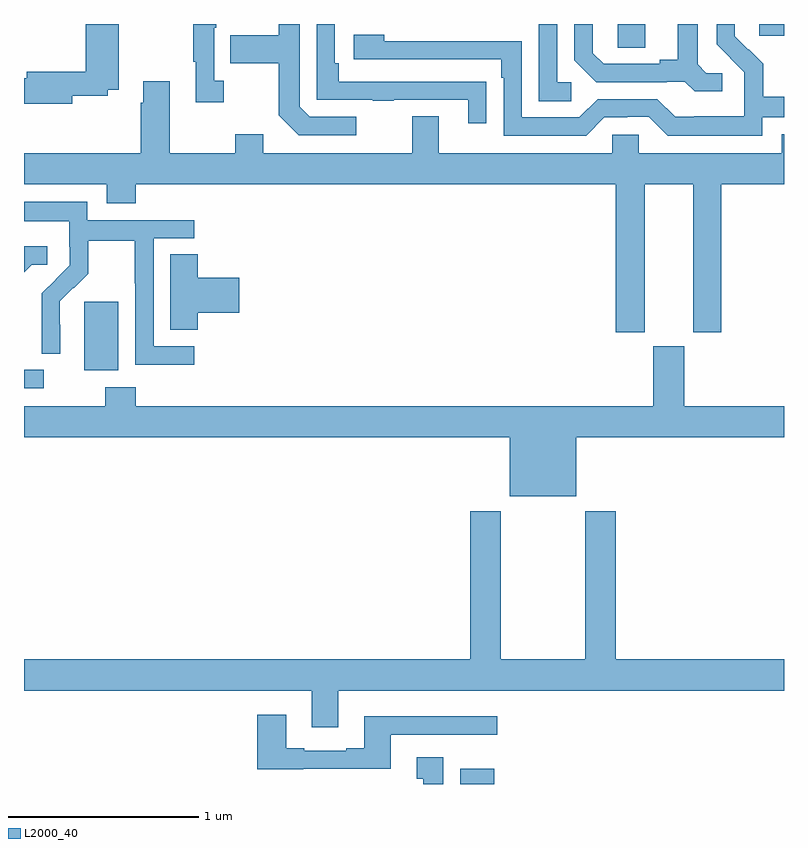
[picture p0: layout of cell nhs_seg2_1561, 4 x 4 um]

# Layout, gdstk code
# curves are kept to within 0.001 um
import gdstk
lib = gdstk.Library(unit=1e-6, precision=1e-09)
def R(c, l, rs):  # rectangles x0, y0, x1, y1
    for r in rs: c.add(gdstk.rectangle(r[:2], r[2:], *l))
def P(c, l, *ps):  # polygons
    for p in ps: c.add(gdstk.Polygon(p, *l))
L2000_40 = (2000, 40)

nhs_seg2_1561 = lib.new_cell('nhs_seg2_1561')
R(nhs_seg2_1561, L2000_40, [(193.295,657.8,193.474,657.88), (191,659.883,191.104,659.979), (191.318,659.978,191.497,660.339), (194.124,661.675,194.269,661.8), (194.87,661.737,195,661.8)])
P(nhs_seg2_1561, L2000_40, [(193.433,661.496),(193.331,661.496),(193.331,661.497),(192.656,661.497),(192.656,661.594),(192.636,661.594),(192.636,661.8),(192.54,661.8),(192.54,661.401),(192.835,661.401),(192.835,661.396),(192.947,661.396),(192.947,661.401),(193.337,661.401),(193.337,661.278),(193.433,661.278)],
  [(194.674,661.542),(194.592,661.542),(194.545,661.589),(194.545,661.8),(194.441,661.8),(194.441,661.613),(194.345,661.613),(194.345,661.59),(194.05,661.59),(193.993,661.647),(193.993,661.8),(193.896,661.8),(193.896,661.61),(194.012,661.494),(194.384,661.494),(194.384,661.497),(194.478,661.497),(194.53,661.445),(194.674,661.445)],
  [(193.879,661.494),(193.806,661.494),(193.806,661.8),(193.71,661.8),(193.71,661.393),(193.879,661.393)],
  [(192.052,661.502),(192,661.502),(192,661.781),(192.013,661.781),(192.013,661.8),(191.892,661.8),(191.892,661.601),(191.903,661.601),(191.903,661.389),(192.052,661.389)],
  [(192.748,661.311),(192.504,661.311),(192.45,661.365),(192.45,661.8),(192.342,661.8),(192.342,661.741),(192.085,661.741),(192.085,661.594),(192.342,661.594),(192.342,661.321),(192.447,661.215),(192.748,661.215)],
  [(194.886,661.308),(195,661.308),(195,661.417),(194.891,661.417),(194.891,661.591),(194.814,661.668),(194.811,661.665),(194.741,661.736),(194.741,661.8),(194.646,661.8),(194.646,661.694),(194.792,661.546),(194.792,661.449),(194.79,661.449),(194.79,661.315),(194.527,661.315),(194.527,661.311),(194.427,661.311),(194.334,661.404),(194.019,661.404),(193.923,661.308),(193.62,661.308),(193.62,661.71),(192.896,661.71),(192.896,661.744),(192.735,661.744),(192.735,661.614),(193.511,661.614),(193.511,661.517),(193.524,661.517),(193.524,661.212),(193.959,661.212),(194.055,661.308),(194.174,661.308),(194.174,661.311),(194.289,661.311),(194.389,661.211),(194.886,661.211)],
  [(191.254,661.422),(191.442,661.422),(191.442,661.454),(191.499,661.454),(191.499,661.8),(191.324,661.8),(191.324,661.55),(191.015,661.55),(191.015,661.514),(191,661.514),(191,661.379),(191.254,661.379)],
  [(194.114,660.177),(194.266,660.177),(194.266,660.956),(194.522,660.956),(194.522,660.177),(194.67,660.177),(194.67,660.956),(195,660.956),(195,661.219),(194.987,661.219),(194.987,661.12),(194.235,661.12),(194.235,661.218),(194.097,661.218),(194.097,661.12),(193.183,661.12),(193.183,661.315),(193.043,661.315),(193.043,661.12),(192.259,661.12),(192.259,661.219),(192.112,661.219),(192.112,661.12),(191.767,661.12),(191.767,661.498),(191.627,661.498),(191.627,661.385),(191.615,661.385),(191.615,661.12),(191,661.12),(191,660.956),(191.435,660.956),(191.435,660.857),(191.588,660.857),(191.588,660.956),(194.114,660.956)],
  [(191.896,660.105),(191.682,660.105),(191.682,660.672),(191.896,660.672),(191.896,660.768),(191.334,660.768),(191.334,660.865),(191,660.865),(191,660.761),(191.238,660.761),(191.238,660.627),(191.24,660.627),(191.24,660.53),(191.094,660.382),(191.094,660.064),(191.19,660.064),(191.189,660.341),(191.259,660.411),(191.262,660.408),(191.339,660.485),(191.339,660.66),(191.584,660.66),(191.584,660.436),(191.586,660.436),(191.586,660.007),(191.896,660.007)],
  [(191.04,660.534),(191.122,660.534),(191.122,660.631),(191,660.631),(191,660.494)],
  [(191.915,660.281),(192.133,660.281),(192.133,660.464),(191.915,660.464),(191.915,660.587),(191.771,660.587),(191.771,660.19),(191.915,660.19)],
  [(193.906,659.624),(195,659.624),(195,659.788),(194.476,659.788),(194.476,660.105),(194.312,660.105),(194.312,659.788),(191.588,659.788),(191.588,659.887),(191.428,659.887),(191.428,659.788),(191,659.788),(191,659.624),(193.556,659.624),(193.556,659.315),(193.906,659.315)],
  [(192.655,658.292),(195,658.292),(195,658.456),(194.114,658.456),(194.114,659.236),(193.954,659.236),(193.954,658.456),(193.509,658.456),(193.509,659.236),(193.349,659.236),(193.349,658.456),(191,658.456),(191,658.292),(192.515,658.292),(192.515,658.098),(192.655,658.098)],
  [(192.471,657.879),(192.931,657.879),(192.931,658.059),(193.492,658.059),(193.492,658.156),(192.791,658.156),(192.791,657.988),(192.695,657.988),(192.695,657.975),(192.475,657.975),(192.475,657.988),(192.379,657.988),(192.379,658.165),(192.227,658.165),(192.227,657.878),(192.471,657.878)],
  [(193.207,657.94),(193.067,657.94),(193.067,657.827),(193.1,657.827),(193.1,657.8),(193.207,657.8)])

lib.write_gds('nhs_seg2_1561.gds')
